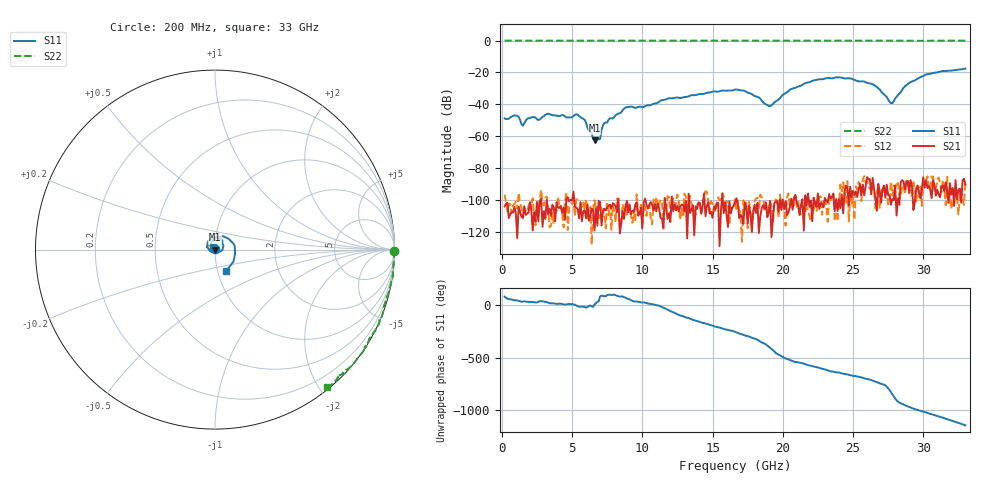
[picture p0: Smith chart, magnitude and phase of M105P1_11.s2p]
# GHZ S RI R 50
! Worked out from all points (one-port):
!   329 points, 200 MHz to 33 GHz, reference 50 ohm
!   lowest |S11| = -62.5 dB at 6.6 GHz (marker M1), VSWR 1.00, Z = 50.1 + j0.0071 ohm
!   |S11| at or under -10 dB: start of sweep to end of sweep
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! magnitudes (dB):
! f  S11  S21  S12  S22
! 200 MHz  -48.8  -103.9  -96.5  0.0
! 1.1 GHz  -47.1  -123.8  -105.2  0.0
! 1.5 GHz  -53.4  -111.0  -111.6  0.0
! 1.9 GHz  -48.6  -107.7  -103.9  0.0
! 3.3 GHz  -45.9  -108.9  -106.0  0.0
! 5.7 GHz  -48.5  -113.2  -104.4  0.0
! 6.6 GHz  -62.5  -119.0  -100.1  0.0
! 7 GHz  -61.6  -101.2  -102.6  0.0
! 7.1 GHz  -55.7  -115.9  -106.0  0.0
! 7.3 GHz  -51.7  -105.3  -108.7  0.0
! 8.8 GHz  -42.0  -104.6  -102.7  0.0
! 11.2 GHz  -38.4  -105.3  -102.0  -0.1
! 16.6 GHz  -30.7  -101.8  -99.7  0.0
! 19.1 GHz  -41.1  -100.6  -100.7  0.0
! 20.5 GHz  -30.9  -104.3  -103.8  -0.1
! 22.1 GHz  -25.3  -113.3  -106.3  0.0
! 25.8 GHz  -25.7  -97.1  -84.9  0.0
! 26.7 GHz  -29.2  -106.6  -94.7  0.0
! 27.6 GHz  -38.4  -97.1  -100.6  0.0
! 29 GHz  -26.6  -95.6  -88.3  0.0
! 30.2 GHz  -21.3  -87.5  -88.1  -0.2
! 33 GHz  -17.6  -90.3  -88.3  -0.1
